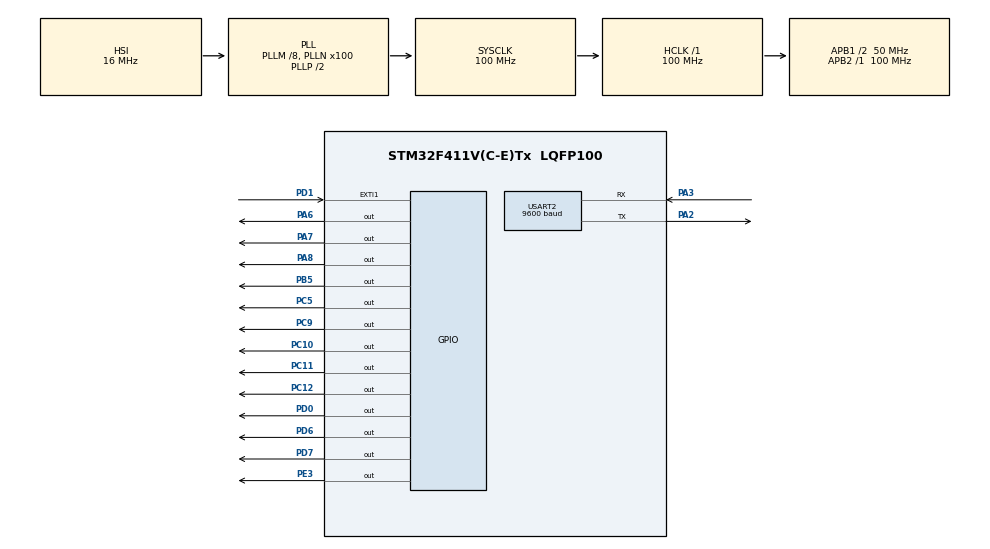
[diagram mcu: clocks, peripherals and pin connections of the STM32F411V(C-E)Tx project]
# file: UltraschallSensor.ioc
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Mcu.Family=STM32F4
Mcu.Name=STM32F411V(C-E)Tx
Mcu.Package=LQFP100
NVIC.EXTI1_IRQn=true\:0\:0\:false\:false\:true\:true\:true\:true
NVIC.PriorityGroup=NVIC_PRIORITYGROUP_4
NVIC.TIM2_IRQn=true\:0\:0\:false\:false\:true\:true\:true\:true
PA2.Mode=Asynchronous
PA2.Signal=USART2_TX
PA3.Mode=Asynchronous
PA3.Signal=USART2_RX
PA6.Signal=GPIO_Output
PA7.Signal=GPIO_Output
PA8.Signal=GPIO_Output
PB5.Signal=GPIO_Output
PC10.Signal=GPIO_Output
PC11.Signal=GPIO_Output
PC12.Signal=GPIO_Output
PC5.Signal=GPIO_Output
PC9.Signal=GPIO_Output
PD0.Signal=GPIO_Output
PD1.GPIO_ModeDefaultEXTI=GPIO_MODE_IT_RISING
PD1.Signal=GPXTI1
PD6.Signal=GPIO_Output
PD7.Signal=GPIO_Output
PE3.Signal=GPIO_Output
ProjectManager.HeapSize=0x200
ProjectManager.StackSize=0x400
ProjectManager.TargetToolchain=STM32CubeIDE
RCC.48MHZClocksFreq_Value=50000000
RCC.AHBFreq_Value=100000000
RCC.APB1CLKDivider=RCC_HCLK_DIV2
RCC.APB1Freq_Value=50000000
RCC.APB1TimFreq_Value=100000000
RCC.APB2Freq_Value=100000000
RCC.APB2TimFreq_Value=100000000
RCC.CortexFreq_Value=100000000
RCC.HCLKFreq_Value=100000000
RCC.HSE_VALUE=25000000
RCC.HSI_VALUE=16000000
RCC.LSE_VALUE=32768
RCC.PLLM=8
RCC.PLLN=100
RCC.SYSCLKFreq_VALUE=100000000
RCC.SYSCLKSource=RCC_SYSCLKSOURCE_PLLCLK
RCC.VCOOutputFreq_Value=200000000
TIM2.Period=48828-1
TIM2.Prescaler=4096-1
USART2.BaudRate=9600
USART2.VirtualMode=VM_ASYNC
VP_TIM2_VS_ClockSourceINT.Mode=Internal
board=custom

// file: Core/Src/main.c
/* USER CODE BEGIN Header */
/**
  ******************************************************************************
  * @file           : main.c
  * @brief          : Main program body
  ******************************************************************************
  * @attention
  *
  * Copyright (c) 2025 STMicroelectronics.
  * All rights reserved.
  *
  * This software is licensed under terms that can be found in the LICENSE file
  * in the root directory of this software component.
  * If no LICENSE file comes with this software, it is provided AS-IS.
  *
  ******************************************************************************
  */
/* USER CODE END Header */
#include "main.h"

/* USER CODE BEGIN Includes */
#include "SiebenSeg.h"
#include "UltraschallSensor.h"
/* USER CODE END Includes */

TIM_HandleTypeDef htim2;

UART_HandleTypeDef huart2;

/* USER CODE BEGIN PV */
uint16_t last_value = 0;
/* USER CODE END PV */

void SystemClock_Config(void);
static void MX_GPIO_Init(void);
static void MX_TIM2_Init(void);
static void MX_USART2_UART_Init(void);
/* USER CODE BEGIN PFP */
//uint16_t Sensor_ReadData(const uint8_t* command);
/* USER CODE END PFP */

int main(void)
{

  /* MCU Configuration--------------------------------------------------------*/

  /* Reset of all peripherals, Initializes the Flash interface and the Systick. */
  HAL_Init();

  /* Configure the system clock */
  SystemClock_Config();

  /* Initialize all configured peripherals */
  MX_GPIO_Init();
  MX_TIM2_Init();
  MX_USART2_UART_Init();
  /* USER CODE BEGIN 2 */
  Reset_7Seg();
  /* USER CODE END 2 */

  /* Infinite loop */
  while (1)
  {

    /* USER CODE BEGIN 3 */
	  // Check if the previous read was a valid measurement (less than 0xFFFC means no error/out-of-range flag)
	  if (last_value < 0xFFFC)
	  {
	      // Check PD3 pin state to determine operating mode
	      if (HAL_GPIO_ReadPin(GPIOD, GPIO_PIN_3) == GPIO_PIN_SET)
	      {
	          // --- Temperature Mode ---
	          last_value = Sensor_ReadData(CMD_TEMP);
	          Write_7Seg(last_value, 2);
	      }
	      else
	      {
	          // --- Distance Mode ---
	          last_value = Sensor_ReadData(CMD_DISTANCE);
	          Write_7Seg(last_value, 4);
	      }
	  }
	  else
	  {
	      // --- Error / Out-of-Range Handling ---
	      // Previous read was an error value (0xFFFF, 0xFFFE, etc.)
	      // Subtract 55536 to shift the error flag down to a readable status code (e.g., 0xFFFF becomes 9999)
	      Write_7Seg((last_value - 55536), 4);

	      // rescan to see, if the error is fixed
	      last_value = Sensor_ReadData(CMD_TEMP);
	  }

	  // Global sampling delay between sensor cycles
	  HAL_Delay(100);
  /* USER CODE END 3 */
  }
}

void SystemClock_Config(void)
{
  RCC_OscInitTypeDef RCC_OscInitStruct = {0};
  RCC_ClkInitTypeDef RCC_ClkInitStruct = {0};

  /** Configure the main internal regulator output voltage
  */
  __HAL_RCC_PWR_CLK_ENABLE();
  __HAL_PWR_VOLTAGESCALING_CONFIG(PWR_REGULATOR_VOLTAGE_SCALE1);

  /** Initializes the RCC Oscillators according to the specified parameters
  * in the RCC_OscInitTypeDef structure.
  */
  RCC_OscInitStruct.OscillatorType = RCC_OSCILLATORTYPE_HSI;
  RCC_OscInitStruct.HSIState = RCC_HSI_ON;
  RCC_OscInitStruct.HSICalibrationValue = RCC_HSICALIBRATION_DEFAULT;
  RCC_OscInitStruct.PLL.PLLState = RCC_PLL_ON;
  RCC_OscInitStruct.PLL.PLLSource = RCC_PLLSOURCE_HSI;
  RCC_OscInitStruct.PLL.PLLM = 8;
  RCC_OscInitStruct.PLL.PLLN = 100;
  RCC_OscInitStruct.PLL.PLLP = RCC_PLLP_DIV2;
  RCC_OscInitStruct.PLL.PLLQ = 4;
  if (HAL_RCC_OscConfig(&RCC_OscInitStruct) != HAL_OK)
  {
    Error_Handler();
  }

  /** Initializes the CPU, AHB and APB buses clocks
  */
  RCC_ClkInitStruct.ClockType = RCC_CLOCKTYPE_HCLK|RCC_CLOCKTYPE_SYSCLK
                              |RCC_CLOCKTYPE_PCLK1|RCC_CLOCKTYPE_PCLK2;
  RCC_ClkInitStruct.SYSCLKSource = RCC_SYSCLKSOURCE_PLLCLK;
  RCC_ClkInitStruct.AHBCLKDivider = RCC_SYSCLK_DIV1;
  RCC_ClkInitStruct.APB1CLKDivider = RCC_HCLK_DIV2;
  RCC_ClkInitStruct.APB2CLKDivider = RCC_HCLK_DIV1;

  if (HAL_RCC_ClockConfig(&RCC_ClkInitStruct, FLASH_LATENCY_3) != HAL_OK)
  {
    Error_Handler();
  }
}

static void MX_TIM2_Init(void)
{

  TIM_ClockConfigTypeDef sClockSourceConfig = {0};
  TIM_MasterConfigTypeDef sMasterConfig = {0};

  htim2.Instance = TIM2;
  htim2.Init.Prescaler = 4096-1;
  htim2.Init.CounterMode = TIM_COUNTERMODE_UP;
  htim2.Init.Period = 48828-1;
  htim2.Init.ClockDivision = TIM_CLOCKDIVISION_DIV1;
  htim2.Init.AutoReloadPreload = TIM_AUTORELOAD_PRELOAD_DISABLE;
  if (HAL_TIM_Base_Init(&htim2) != HAL_OK)
  {
    Error_Handler();
  }
  sClockSourceConfig.ClockSource = TIM_CLOCKSOURCE_INTERNAL;
  if (HAL_TIM_ConfigClockSource(&htim2, &sClockSourceConfig) != HAL_OK)
  {
    Error_Handler();
  }
  sMasterConfig.MasterOutputTrigger = TIM_TRGO_RESET;
  sMasterConfig.MasterSlaveMode = TIM_MASTERSLAVEMODE_DISABLE;
  if (HAL_TIMEx_MasterConfigSynchronization(&htim2, &sMasterConfig) != HAL_OK)
  {
    Error_Handler();
  }

}

static void MX_USART2_UART_Init(void)
{

  huart2.Instance = USART2;
  huart2.Init.BaudRate = 9600;
  huart2.Init.WordLength = UART_WORDLENGTH_8B;
  huart2.Init.StopBits = UART_STOPBITS_1;
  huart2.Init.Parity = UART_PARITY_NONE;
  huart2.Init.Mode = UART_MODE_TX_RX;
  huart2.Init.HwFlowCtl = UART_HWCONTROL_NONE;
  huart2.Init.OverSampling = UART_OVERSAMPLING_16;
  if (HAL_UART_Init(&huart2) != HAL_OK)
  {
    Error_Handler();
  }

}

static void MX_GPIO_Init(void)
{
  GPIO_InitTypeDef GPIO_InitStruct = {0};

  /* GPIO Ports Clock Enable */
  __HAL_RCC_GPIOE_CLK_ENABLE();
  __HAL_RCC_GPIOA_CLK_ENABLE();
  __HAL_RCC_GPIOC_CLK_ENABLE();
  __HAL_RCC_GPIOD_CLK_ENABLE();
  __HAL_RCC_GPIOB_CLK_ENABLE();

  /*Configure GPIO pin Output Level */
  HAL_GPIO_WritePin(GPIOE, GPIO_PIN_3, GPIO_PIN_RESET);

  /*Configure GPIO pin Output Level */
  HAL_GPIO_WritePin(GPIOA, GPIO_PIN_6|GPIO_PIN_7|GPIO_PIN_8, GPIO_PIN_RESET);

  /*Configure GPIO pin Output Level */
  HAL_GPIO_WritePin(GPIOC, GPIO_PIN_5|GPIO_PIN_9|GPIO_PIN_10|GPIO_PIN_11
                          |GPIO_PIN_12, GPIO_PIN_RESET);

  /*Configure GPIO pin Output Level */
  HAL_GPIO_WritePin(GPIOD, GPIO_PIN_0|GPIO_PIN_6|GPIO_PIN_7, GPIO_PIN_RESET);

  /*Configure GPIO pin Output Level */
  HAL_GPIO_WritePin(GPIOB, GPIO_PIN_5, GPIO_PIN_RESET);

  /*Configure GPIO pin : PE3 */
  GPIO_InitStruct.Pin = GPIO_PIN_3;
  GPIO_InitStruct.Mode = GPIO_MODE_OUTPUT_PP;
  GPIO_InitStruct.Pull = GPIO_NOPULL;
  GPIO_InitStruct.Speed = GPIO_SPEED_FREQ_LOW;
  HAL_GPIO_Init(GPIOE, &GPIO_InitStruct);

  /*Configure GPIO pins : PA6 PA7 PA8 */
  GPIO_InitStruct.Pin = GPIO_PIN_6|GPIO_PIN_7|GPIO_PIN_8;
  GPIO_InitStruct.Mode = GPIO_MODE_OUTPUT_PP;
  GPIO_InitStruct.Pull = GPIO_NOPULL;
  GPIO_InitStruct.Speed = GPIO_SPEED_FREQ_LOW;
  HAL_GPIO_Init(GPIOA, &GPIO_InitStruct);

  /*Configure GPIO pins : PC5 PC9 PC10 PC11
                           PC12 */
  GPIO_InitStruct.Pin = GPIO_PIN_5|GPIO_PIN_9|GPIO_PIN_10|GPIO_PIN_11
                          |GPIO_PIN_12;
  GPIO_InitStruct.Mode = GPIO_MODE_OUTPUT_PP;
  GPIO_InitStruct.Pull = GPIO_NOPULL;
  GPIO_InitStruct.Speed = GPIO_SPEED_FREQ_LOW;
  HAL_GPIO_Init(GPIOC, &GPIO_InitStruct);

  /*Configure GPIO pins : PD0 PD6 PD7 */
  GPIO_InitStruct.Pin = GPIO_PIN_0|GPIO_PIN_6|GPIO_PIN_7;
  GPIO_InitStruct.Mode = GPIO_MODE_OUTPUT_PP;
  GPIO_InitStruct.Pull = GPIO_NOPULL;
  GPIO_InitStruct.Speed = GPIO_SPEED_FREQ_LOW;
  HAL_GPIO_Init(GPIOD, &GPIO_InitStruct);

  /*Configure GPIO pin : PD1 */
  GPIO_InitStruct.Pin = GPIO_PIN_1;
  GPIO_InitStruct.Mode = GPIO_MODE_IT_RISING;
  GPIO_InitStruct.Pull = GPIO_NOPULL;
  HAL_GPIO_Init(GPIOD, &GPIO_InitStruct);

  /*Configure GPIO pin : PB5 */
  GPIO_InitStruct.Pin = GPIO_PIN_5;
  GPIO_InitStruct.Mode = GPIO_MODE_OUTPUT_PP;
  GPIO_InitStruct.Pull = GPIO_NOPULL;
  GPIO_InitStruct.Speed = GPIO_SPEED_FREQ_LOW;
  HAL_GPIO_Init(GPIOB, &GPIO_InitStruct);

  /* EXTI interrupt init*/
  HAL_NVIC_SetPriority(EXTI1_IRQn, 0, 0);
  HAL_NVIC_EnableIRQ(EXTI1_IRQn);

}

void Error_Handler(void)
{
  __disable_irq();
  while (1)
  {
  }
}
